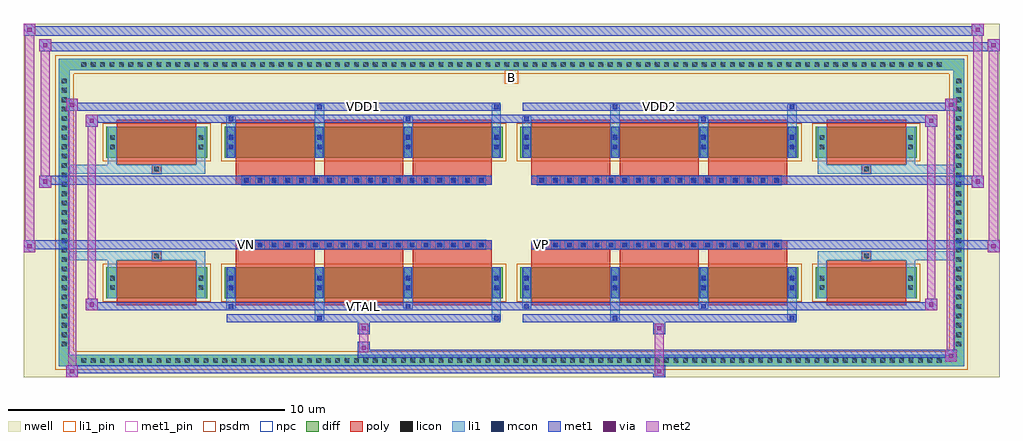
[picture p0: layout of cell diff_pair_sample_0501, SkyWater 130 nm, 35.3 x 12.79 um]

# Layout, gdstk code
import gdstk
lib = gdstk.Library(unit=1e-6, precision=5e-09)
def R(c, l, rs):  # rectangles x0, y0, x1, y1
    for r in rs: c.add(gdstk.rectangle(r[:2], r[2:], *l))
def A(c, l, x, y, w, h, nx, ny, dx, dy):  # array of equal rectangles
    R(c, l, [(x+i*dx, y+j*dy, x+i*dx+w, y+j*dy+h) for i in range(nx) for j in range(ny)])
def P(c, l, *ps):  # polygons
    for p in ps: c.add(gdstk.Polygon(p, *l))
nwell = (64, 20)
diff = (65, 20)
poly = (66, 20)
licon = (66, 44)
li1_pin = (67, 16)
li1 = (67, 20)
mcon = (67, 44)
met1_pin = (68, 16)
met1 = (68, 20)
via = (68, 44)
met2 = (69, 20)
psdm = (94, 20)
npc = (95, 20)

diff_pair_sample_0501 = lib.new_cell('diff_pair_sample_0501')
R(diff_pair_sample_0501, nwell, [(-17.65,-5.96,17.65,6.83), (-14.97,-4.15,-0.01,-0.805), (0.01,-4.15,14.97,-0.805), (-14.97,0.805,-0.01,4.15), (0.01,0.805,14.97,4.15)])
A(diff_pair_sample_0501, diff, -15.675, -5.56, 0.41, 0.41, 92, 2, 0.34, 10.71)
A(diff_pair_sample_0501, diff, -16.38, -4.965, 0.41, 0.41, 1, 29, 0, 0.34)
A(diff_pair_sample_0501, diff, 15.97, -4.965, 0.41, 0.41, 1, 29, 0, 0.34)
R(diff_pair_sample_0501, diff, [(-15.675,-5.56,15.675,-5.15), (-16.38,-4.965,-15.97,4.965), (15.97,-4.965,16.38,4.965), (-14.66,-3.105,-11.01,-1.985), (-10.37,-3.105,-0.32,-1.985), (0.32,-3.105,10.37,-1.985), (11.01,-3.105,14.66,-1.985), (-14.66,1.985,-11.01,3.105), (-10.37,1.985,-0.32,3.105), (0.32,1.985,10.37,3.105), (11.01,1.985,14.66,3.105), (-15.675,5.15,15.675,5.56)])
P(diff_pair_sample_0501, diff, [(16.38,5.56),(-16.38,5.56),(-16.38,-5.15),(-15.97,-5.15),(-15.97,5.15),(15.97,5.15),(15.97,-5.15),(-15.97,-5.15),(-16.38,-5.15),(-16.38,-5.56),(16.38,-5.56)])
A(diff_pair_sample_0501, poly, -9.98, -3.355, 2.87, 1.62, 3, 2, 3.2, 5.09)
A(diff_pair_sample_0501, poly, 0.71, -3.355, 2.87, 1.62, 3, 2, 3.2, 5.09)
A(diff_pair_sample_0501, poly, -9.98, -1.735, 2.87, 0.4, 3, 2, 3.2, 3.07)
A(diff_pair_sample_0501, poly, 0.71, -1.735, 2.87, 0.4, 3, 2, 3.2, 3.07)
A(diff_pair_sample_0501, poly, -9.76, -1.335, 0.33, 0.33, 18, 2, 0.5, 2.34)
A(diff_pair_sample_0501, poly, 0.93, -1.335, 0.33, 0.33, 18, 2, 0.5, 2.34)
R(diff_pair_sample_0501, poly, [(-14.27,-3.355,-11.4,-1.735), (11.4,-3.355,14.27,-1.735), (-13,-1.735,-12.67,-1.405), (-13,-1.735,-12.67,-1.405), (12.67,-1.735,13,-1.405), (12.67,-1.735,13,-1.405), (-9.98,-1.335,-0.71,-1.005), (0.71,-1.335,9.98,-1.005), (-9.98,1.005,-0.71,1.335), (0.71,1.005,9.98,1.335), (-13,1.405,-12.67,1.735), (-13,1.405,-12.67,1.735), (12.67,1.405,13,1.735), (12.67,1.405,13,1.735), (-14.27,1.735,-11.4,3.355), (11.4,1.735,14.27,3.355)])
A(diff_pair_sample_0501, licon, -15.555, -5.44, 0.17, 0.17, 92, 2, 0.34, 10.71)
A(diff_pair_sample_0501, licon, -16.26, -4.845, 0.17, 0.17, 1, 29, 0, 0.34)
A(diff_pair_sample_0501, licon, 16.09, -4.845, 0.17, 0.17, 1, 29, 0, 0.34)
A(diff_pair_sample_0501, licon, -10.23, -2.8, 0.17, 0.17, 4, 2, 3.2, 0.34)
A(diff_pair_sample_0501, licon, 0.46, -2.8, 0.17, 0.17, 4, 2, 3.2, 0.34)
A(diff_pair_sample_0501, licon, -9.68, -1.255, 0.17, 0.17, 18, 2, 0.5, 2.34)
A(diff_pair_sample_0501, licon, 1.01, -1.255, 0.17, 0.17, 18, 2, 0.5, 2.34)
A(diff_pair_sample_0501, licon, -10.23, 2.29, 0.17, 0.17, 4, 2, 3.2, 0.34)
A(diff_pair_sample_0501, licon, 0.46, 2.29, 0.17, 0.17, 4, 2, 3.2, 0.34)
R(diff_pair_sample_0501, licon, [(-14.52,-2.8,-14.35,-2.63), (-11.32,-2.8,-11.15,-2.63), (11.15,-2.8,11.32,-2.63), (14.35,-2.8,14.52,-2.63), (-14.52,-2.46,-14.35,-2.29), (-11.32,-2.46,-11.15,-2.29), (11.15,-2.46,11.32,-2.29), (14.35,-2.46,14.52,-2.29), (-12.92,-1.655,-12.75,-1.485), (12.75,-1.655,12.92,-1.485), (-12.92,1.485,-12.75,1.655), (12.75,1.485,12.92,1.655), (-14.52,2.29,-14.35,2.46), (-11.32,2.29,-11.15,2.46), (11.15,2.29,11.32,2.46), (14.35,2.29,14.52,2.46), (-14.52,2.63,-14.35,2.8), (-11.32,2.63,-11.15,2.8), (11.15,2.63,11.32,2.8), (14.35,2.63,14.52,2.8)])
R(diff_pair_sample_0501, li1_pin, [(-0.25,4.65,0.25,5.15)])
A(diff_pair_sample_0501, li1, -15.635, -5.52, 0.33, 0.33, 92, 2, 0.34, 10.71)
A(diff_pair_sample_0501, li1, -16.34, -4.925, 0.33, 0.33, 1, 29, 0, 0.34)
A(diff_pair_sample_0501, li1, 16.01, -4.925, 0.33, 0.33, 1, 29, 0, 0.34)
A(diff_pair_sample_0501, li1, -10.31, -3.105, 0.33, 1.12, 4, 2, 3.2, 5.09)
A(diff_pair_sample_0501, li1, 0.38, -3.105, 0.33, 1.12, 4, 2, 3.2, 5.09)
A(diff_pair_sample_0501, li1, -10.31, -2.88, 0.33, 0.33, 4, 2, 3.2, 0.34)
A(diff_pair_sample_0501, li1, 0.38, -2.88, 0.33, 0.33, 4, 2, 3.2, 0.34)
A(diff_pair_sample_0501, li1, -10.23, -2.81, 0.17, 0.17, 4, 2, 3.2, 0.36)
A(diff_pair_sample_0501, li1, -10.23, -2.81, 0.17, 0.53, 4, 2, 3.2, 5.09)
A(diff_pair_sample_0501, li1, 0.46, -2.81, 0.17, 0.17, 4, 2, 3.2, 0.36)
A(diff_pair_sample_0501, li1, 0.46, -2.81, 0.17, 0.53, 4, 2, 3.2, 5.09)
A(diff_pair_sample_0501, li1, -9.76, -1.335, 0.33, 0.33, 18, 2, 0.5, 2.34)
A(diff_pair_sample_0501, li1, 0.93, -1.335, 0.33, 0.33, 18, 2, 0.5, 2.34)
A(diff_pair_sample_0501, li1, -10.31, 2.21, 0.33, 0.33, 4, 2, 3.2, 0.34)
A(diff_pair_sample_0501, li1, 0.38, 2.21, 0.33, 0.33, 4, 2, 3.2, 0.34)
A(diff_pair_sample_0501, li1, -10.23, 2.28, 0.17, 0.17, 4, 2, 3.2, 0.36)
A(diff_pair_sample_0501, li1, 0.46, 2.28, 0.17, 0.17, 4, 2, 3.2, 0.36)
R(diff_pair_sample_0501, li1, [(-16.38,-5.56,-15.97,-5.15), (-16.38,-5.56,-15.97,-5.15), (-15.97,-5.56,15.97,-5.15), (15.97,-5.56,16.38,-5.15), (15.97,-5.56,16.38,-5.15), (-16.38,-5.15,-15.97,5.15), (15.97,-5.15,16.38,5.15), (-7.11,-3.91,-6.78,-3.105), (-7.03,-3.91,-6.86,-3.74), (-0.71,-3.91,-0.38,-3.105), (-0.63,-3.91,-0.46,-3.74), (3.58,-3.91,3.91,-3.105), (3.66,-3.91,3.83,-3.74), (9.98,-3.91,10.31,-3.105), (10.06,-3.91,10.23,-3.74), (-10.31,-3.48,-9.98,-3.105), (-10.23,-3.48,-10.06,-3.31), (-3.91,-3.48,-3.58,-3.105), (-3.83,-3.48,-3.66,-3.31), (0.38,-3.48,0.71,-3.105), (0.46,-3.48,0.63,-3.31), (6.78,-3.48,7.11,-3.105), (6.86,-3.48,7.03,-3.31), (-14.6,-3.105,-14.27,-1.985), (-11.4,-3.105,-11.07,-1.985), (11.07,-3.105,11.4,-1.985), (14.27,-3.105,14.6,-1.985), (-14.6,-2.88,-14.27,-2.55), (-11.4,-2.88,-11.07,-2.55), (11.07,-2.88,11.4,-2.55), (14.27,-2.88,14.6,-2.55), (-14.6,-2.54,-14.27,-2.21), (-11.4,-2.54,-11.07,-2.21), (11.07,-2.54,11.4,-2.21), (14.27,-2.54,14.6,-2.21), (-14.6,-1.985,-14.27,-1.405), (-11.4,-1.985,-11.07,-1.405), (11.07,-1.985,11.4,-1.405), (14.27,-1.985,14.6,-1.405), (-16.38,-1.735,-13,-1.405), (-14.6,-1.735,-13,-1.405), (-13,-1.735,-12.67,-1.405), (-12.67,-1.735,-11.07,-1.405), (11.07,-1.735,12.67,-1.405), (12.67,-1.735,13,-1.405), (12.67,-1.735,16.38,-1.405), (13,-1.735,14.6,-1.405), (-16.38,1.405,-13,1.735), (-14.6,1.405,-13,1.735), (-14.6,1.405,-14.27,1.985), (-13,1.405,-12.67,1.735), (-12.67,1.405,-11.07,1.735), (-11.4,1.405,-11.07,1.985), (11.07,1.405,12.67,1.735), (11.07,1.405,11.4,1.985), (12.67,1.405,13,1.735), (12.67,1.405,16.38,1.735), (13,1.405,14.6,1.735), (14.27,1.405,14.6,1.985), (-14.6,1.985,-14.27,3.105), (-11.4,1.985,-11.07,3.105), (11.07,1.985,11.4,3.105), (14.27,1.985,14.6,3.105), (-14.6,2.21,-14.27,2.54), (-11.4,2.21,-11.07,2.54), (11.07,2.21,11.4,2.54), (14.27,2.21,14.6,2.54), (-14.6,2.55,-14.27,2.88), (-11.4,2.55,-11.07,2.88), (11.07,2.55,11.4,2.88), (14.27,2.55,14.6,2.88), (-10.31,3.105,-9.98,3.48), (-7.11,3.105,-6.78,3.91), (-3.91,3.105,-3.58,3.48), (-0.71,3.105,-0.38,3.91), (0.38,3.105,0.71,3.48), (3.58,3.105,3.91,3.91), (6.78,3.105,7.11,3.48), (9.98,3.105,10.31,3.91), (-10.23,3.31,-10.06,3.48), (-3.83,3.31,-3.66,3.48), (0.46,3.31,0.63,3.48), (6.86,3.31,7.03,3.48), (-7.03,3.74,-6.86,3.91), (-0.63,3.74,-0.46,3.91), (3.66,3.74,3.83,3.91), (10.06,3.74,10.23,3.91), (-16.38,5.15,-15.97,5.56), (-16.38,5.15,-15.97,5.56), (-15.97,5.15,15.97,5.56), (15.97,5.15,16.38,5.56), (15.97,5.15,16.38,5.56)])
A(diff_pair_sample_0501, mcon, -10.23, -2.81, 0.17, 0.17, 4, 2, 3.2, 0.36)
A(diff_pair_sample_0501, mcon, 0.46, -2.81, 0.17, 0.17, 4, 2, 3.2, 0.36)
A(diff_pair_sample_0501, mcon, -9.68, -1.255, 0.17, 0.17, 18, 2, 0.5, 2.34)
A(diff_pair_sample_0501, mcon, 1.01, -1.255, 0.17, 0.17, 18, 2, 0.5, 2.34)
A(diff_pair_sample_0501, mcon, -10.23, 2.28, 0.17, 0.17, 4, 2, 3.2, 0.36)
A(diff_pair_sample_0501, mcon, 0.46, 2.28, 0.17, 0.17, 4, 2, 3.2, 0.36)
R(diff_pair_sample_0501, mcon, [(-7.03,-3.91,-6.86,-3.74), (-0.63,-3.91,-0.46,-3.74), (3.66,-3.91,3.83,-3.74), (10.06,-3.91,10.23,-3.74), (-10.23,-3.48,-10.06,-3.31), (-3.83,-3.48,-3.66,-3.31), (0.46,-3.48,0.63,-3.31), (6.86,-3.48,7.03,-3.31), (-10.23,3.31,-10.06,3.48), (-3.83,3.31,-3.66,3.48), (0.46,3.31,0.63,3.48), (6.86,3.31,7.03,3.48), (-7.03,3.74,-6.86,3.91), (-0.63,3.74,-0.46,3.91), (3.66,3.74,3.83,3.91), (10.06,3.74,10.23,3.91)])
R(diff_pair_sample_0501, met1_pin, [(-5.48,-3.52,-5.21,-3.25), (-9.73,-1.295,-9.46,-1.025), (0.96,-1.295,1.23,-1.025), (-5.48,3.7,-5.21,3.97), (5.21,3.7,5.48,3.97)])
A(diff_pair_sample_0501, met1, -10.29, -3.105, 0.29, 1.12, 4, 2, 3.2, 5.09)
A(diff_pair_sample_0501, met1, 0.4, -3.105, 0.29, 1.12, 4, 2, 3.2, 5.09)
A(diff_pair_sample_0501, met1, -10.29, -2.87, 0.29, 0.29, 4, 2, 3.2, 0.36)
A(diff_pair_sample_0501, met1, 0.4, -2.87, 0.29, 0.29, 4, 2, 3.2, 0.36)
A(diff_pair_sample_0501, met1, -9.74, -1.315, 0.29, 0.29, 18, 2, 0.5, 2.34)
A(diff_pair_sample_0501, met1, 0.95, -1.315, 0.29, 0.29, 18, 2, 0.5, 2.34)
A(diff_pair_sample_0501, met1, -10.29, 2.22, 0.29, 0.29, 4, 2, 3.2, 0.36)
A(diff_pair_sample_0501, met1, 0.4, 2.22, 0.29, 0.29, 4, 2, 3.2, 0.36)
R(diff_pair_sample_0501, met1, [(-16.11,-5.96,-15.68,-5.53), (5.13,-5.96,5.56,-5.53), (-16.11,-5.82,5.56,-5.53), (15.68,-5.39,16.11,-4.96), (-5.56,-5.25,16.11,-4.96), (-5.56,-5.11,-5.13,-4.68), (-5.56,-4.4,-5.13,-3.97), (5.13,-4.4,5.56,-3.97), (-10.29,-3.97,-0.4,-3.68), (-7.09,-3.97,-6.8,-3.68), (-0.69,-3.97,-0.4,-3.68), (0.4,-3.97,10.29,-3.68), (3.6,-3.97,3.89,-3.68), (10,-3.97,10.29,-3.68), (-15.4,-3.54,-14.97,-3.11), (-15.4,-3.54,-10.29,-3.25), (-10.29,-3.54,-10,-3.25), (-10.29,-3.54,-0.4,-3.25), (-3.89,-3.54,-3.6,-3.25), (-0.4,-3.54,0.4,-3.25), (0.4,-3.54,0.69,-3.25), (0.4,-3.54,10.29,-3.25), (6.8,-3.54,7.09,-3.25), (10.29,-3.54,15.4,-3.25), (14.97,-3.54,15.4,-3.11), (-17.65,-1.435,-17.22,-1.005), (17.22,-1.435,17.65,-1.005), (-17.65,-1.335,-0.71,-1.005), (-9.98,-1.335,-0.71,-1.005), (0.71,-1.335,9.98,-1.005), (0.71,-1.335,17.65,-1.005), (-17.08,0.905,-16.65,1.335), (16.65,0.905,17.08,1.335), (-17.08,1.005,-9.98,1.335), (-9.98,1.005,-0.71,1.335), (0.71,1.005,9.98,1.335), (9.98,1.005,17.08,1.335), (-15.4,3.11,-14.97,3.54), (14.97,3.11,15.4,3.54), (-15.4,3.25,-10.29,3.54), (-10.29,3.25,-10,3.54), (-10.29,3.25,-0.4,3.54), (-3.89,3.25,-3.6,3.54), (-0.4,3.25,0.4,3.54), (0.4,3.25,0.69,3.54), (0.4,3.25,10.29,3.54), (6.8,3.25,7.09,3.54), (10.29,3.25,15.4,3.54), (-16.11,3.68,-15.68,4.11), (-16.11,3.68,-10.29,3.97), (-10.29,3.68,-0.4,3.97), (-7.09,3.68,-6.8,3.97), (-0.69,3.68,-0.4,3.97), (0.4,3.68,10.29,3.97), (3.6,3.68,3.89,3.97), (10,3.68,10.29,3.97), (10.29,3.68,16.11,3.97), (15.68,3.68,16.11,4.11), (-17.08,5.83,-16.65,6.26), (-17.08,5.83,-14.97,6.16), (-14.97,5.83,14.97,6.16), (14.97,5.83,17.65,6.16), (17.22,5.83,17.65,6.26), (-17.65,6.4,-17.22,6.83), (-17.65,6.4,-14.97,6.73), (-14.97,6.4,14.97,6.73), (14.97,6.4,17.08,6.73), (16.65,6.4,17.08,6.83)])
R(diff_pair_sample_0501, via, [(-15.97,-5.82,-15.82,-5.67), (5.27,-5.82,5.42,-5.67), (15.82,-5.25,15.97,-5.1), (-5.42,-4.97,-5.27,-4.82), (-5.42,-4.26,-5.27,-4.11), (5.27,-4.26,5.42,-4.11), (-15.26,-3.4,-15.11,-3.25), (15.11,-3.4,15.26,-3.25), (-17.51,-1.295,-17.36,-1.145), (17.36,-1.295,17.51,-1.145), (-16.94,1.045,-16.79,1.195), (16.79,1.045,16.94,1.195), (-15.26,3.25,-15.11,3.4), (15.11,3.25,15.26,3.4), (-15.97,3.82,-15.82,3.97), (15.82,3.82,15.97,3.97), (-16.94,5.97,-16.79,6.12), (17.36,5.97,17.51,6.12), (-17.51,6.54,-17.36,6.69), (16.79,6.54,16.94,6.69)])
R(diff_pair_sample_0501, met2, [(-16.11,-5.96,-15.68,-5.53), (-16.04,-5.96,-15.75,4.11), (-15.75,-5.96,-15.68,-5.53), (-16.06,-5.91,-15.73,-5.58), (5.18,-5.91,5.51,-5.58), (5.18,-5.58,5.51,-4.35), (15.68,-5.39,16.11,-4.96), (15.75,-5.39,16.04,4.11), (16.04,-5.39,16.11,-4.96), (15.73,-5.34,16.06,-5.01), (-5.51,-5.06,-5.18,-4.73), (-5.51,-4.73,-5.18,-4.35), (-5.51,-4.35,-5.18,-4.02), (5.18,-4.35,5.51,-4.02), (-15.4,-3.54,-14.97,-3.11), (-15.33,-3.54,-15.04,3.54), (-15.04,-3.54,-14.97,-3.11), (14.97,-3.54,15.4,-3.11), (15.04,-3.54,15.33,3.54), (15.33,-3.54,15.4,-3.11), (-15.35,-3.49,-15.02,-3.16), (15.02,-3.49,15.35,-3.16), (-17.65,-1.435,-17.22,-1.005), (-17.6,-1.435,-17.27,6.83), (-17.27,-1.435,-17.22,-1.005), (17.22,-1.435,17.65,-1.005), (17.27,-1.435,17.6,6.26), (17.6,-1.435,17.65,-1.005), (-17.6,-1.385,-17.27,-1.055), (17.27,-1.385,17.6,-1.055), (-17.08,0.905,-16.65,1.335), (-17.03,0.905,-16.7,6.26), (-16.7,0.905,-16.65,1.335), (16.65,0.905,17.08,1.335), (16.7,0.905,17.03,6.83), (17.03,0.905,17.08,1.335), (-17.03,0.955,-16.7,1.285), (16.7,0.955,17.03,1.285), (-15.4,3.11,-14.97,3.54), (-15.04,3.11,-14.97,3.54), (14.97,3.11,15.4,3.54), (15.33,3.11,15.4,3.54), (-15.35,3.16,-15.02,3.49), (15.02,3.16,15.35,3.49), (-16.11,3.68,-15.68,4.11), (-15.75,3.68,-15.68,4.11), (15.68,3.68,16.11,4.11), (16.04,3.68,16.11,4.11), (-16.06,3.73,-15.73,4.06), (15.73,3.73,16.06,4.06), (-17.08,5.83,-16.65,6.26), (-16.7,5.83,-16.65,6.26), (17.22,5.83,17.65,6.26), (17.6,5.83,17.65,6.26), (-17.03,5.88,-16.7,6.21), (17.27,5.88,17.6,6.21), (-17.65,6.4,-17.22,6.83), (-17.27,6.4,-17.22,6.83), (16.65,6.4,17.08,6.83), (17.03,6.4,17.08,6.83), (-17.6,6.45,-17.27,6.78), (16.7,6.45,17.03,6.78)])
R(diff_pair_sample_0501, psdm, [(-14.79,-3.235,-10.88,-1.855), (-10.5,-3.235,-0.19,-1.855), (0.19,-3.235,10.5,-1.855), (10.88,-3.235,14.79,-1.855), (-14.79,1.855,-10.88,3.235), (-10.5,1.855,-0.19,3.235), (0.19,1.855,10.5,3.235), (10.88,1.855,14.79,3.235)])
P(diff_pair_sample_0501, psdm, [(16.51,5.69),(-16.51,5.69),(-16.51,-5.02),(-15.84,-5.02),(-15.84,5.02),(15.84,5.02),(15.84,-5.02),(-15.84,-5.02),(-16.51,-5.02),(-16.51,-5.69),(16.51,-5.69)])
A(diff_pair_sample_0501, npc, -9.78, -1.355, 0.37, 0.37, 18, 2, 0.5, 2.34)
A(diff_pair_sample_0501, npc, 0.91, -1.355, 0.37, 0.37, 18, 2, 0.5, 2.34)
R(diff_pair_sample_0501, npc, [(-13.02,-1.755,-12.65,-1.385), (12.65,-1.755,13.02,-1.385), (-9.78,-1.355,-8.91,-0.985), (-9.78,-1.355,-8.91,-0.985), (-9.28,-1.355,-8.41,-0.985), (-9.28,-1.355,-8.41,-0.985), (-8.78,-1.355,-7.91,-0.985), (-8.78,-1.355,-7.91,-0.985), (-8.28,-1.355,-7.41,-0.985), (-8.28,-1.355,-7.41,-0.985), (-7.78,-1.355,-6.91,-0.985), (-7.78,-1.355,-6.91,-0.985), (-7.28,-1.355,-6.41,-0.985), (-7.28,-1.355,-6.41,-0.985), (-6.78,-1.355,-5.91,-0.985), (-6.78,-1.355,-5.91,-0.985), (-6.28,-1.355,-5.41,-0.985), (-6.28,-1.355,-5.41,-0.985), (-5.78,-1.355,-4.91,-0.985), (-5.78,-1.355,-4.91,-0.985), (-5.28,-1.355,-4.41,-0.985), (-5.28,-1.355,-4.41,-0.985), (-4.78,-1.355,-3.91,-0.985), (-4.78,-1.355,-3.91,-0.985), (-4.28,-1.355,-3.41,-0.985), (-4.28,-1.355,-3.41,-0.985), (-3.78,-1.355,-2.91,-0.985), (-3.78,-1.355,-2.91,-0.985), (-3.28,-1.355,-2.41,-0.985), (-3.28,-1.355,-2.41,-0.985), (-2.78,-1.355,-1.91,-0.985), (-2.78,-1.355,-1.91,-0.985), (-2.28,-1.355,-1.41,-0.985), (-2.28,-1.355,-1.41,-0.985), (-1.78,-1.355,-0.91,-0.985), (-1.78,-1.355,-0.91,-0.985), (0.91,-1.355,1.78,-0.985), (0.91,-1.355,1.78,-0.985), (1.41,-1.355,2.28,-0.985), (1.41,-1.355,2.28,-0.985), (1.91,-1.355,2.78,-0.985), (1.91,-1.355,2.78,-0.985), (2.41,-1.355,3.28,-0.985), (2.41,-1.355,3.28,-0.985), (2.91,-1.355,3.78,-0.985), (2.91,-1.355,3.78,-0.985), (3.41,-1.355,4.28,-0.985), (3.41,-1.355,4.28,-0.985), (3.91,-1.355,4.78,-0.985), (3.91,-1.355,4.78,-0.985), (4.41,-1.355,5.28,-0.985), (4.41,-1.355,5.28,-0.985), (4.91,-1.355,5.78,-0.985), (4.91,-1.355,5.78,-0.985), (5.41,-1.355,6.28,-0.985), (5.41,-1.355,6.28,-0.985), (5.91,-1.355,6.78,-0.985), (5.91,-1.355,6.78,-0.985), (6.41,-1.355,7.28,-0.985), (6.41,-1.355,7.28,-0.985), (6.91,-1.355,7.78,-0.985), (6.91,-1.355,7.78,-0.985), (7.41,-1.355,8.28,-0.985), (7.41,-1.355,8.28,-0.985), (7.91,-1.355,8.78,-0.985), (7.91,-1.355,8.78,-0.985), (8.41,-1.355,9.28,-0.985), (8.41,-1.355,9.28,-0.985), (8.91,-1.355,9.78,-0.985), (8.91,-1.355,9.78,-0.985), (-9.78,0.985,-8.91,1.355), (-9.78,0.985,-8.91,1.355), (-9.28,0.985,-8.41,1.355), (-9.28,0.985,-8.41,1.355), (-8.78,0.985,-7.91,1.355), (-8.78,0.985,-7.91,1.355), (-8.28,0.985,-7.41,1.355), (-8.28,0.985,-7.41,1.355), (-7.78,0.985,-6.91,1.355), (-7.78,0.985,-6.91,1.355), (-7.28,0.985,-6.41,1.355), (-7.28,0.985,-6.41,1.355), (-6.78,0.985,-5.91,1.355), (-6.78,0.985,-5.91,1.355), (-6.28,0.985,-5.41,1.355), (-6.28,0.985,-5.41,1.355), (-5.78,0.985,-4.91,1.355), (-5.78,0.985,-4.91,1.355), (-5.28,0.985,-4.41,1.355), (-5.28,0.985,-4.41,1.355), (-4.78,0.985,-3.91,1.355), (-4.78,0.985,-3.91,1.355), (-4.28,0.985,-3.41,1.355), (-4.28,0.985,-3.41,1.355), (-3.78,0.985,-2.91,1.355), (-3.78,0.985,-2.91,1.355), (-3.28,0.985,-2.41,1.355), (-3.28,0.985,-2.41,1.355), (-2.78,0.985,-1.91,1.355), (-2.78,0.985,-1.91,1.355), (-2.28,0.985,-1.41,1.355), (-2.28,0.985,-1.41,1.355), (-1.78,0.985,-0.91,1.355), (-1.78,0.985,-0.91,1.355), (0.91,0.985,1.78,1.355), (0.91,0.985,1.78,1.355), (1.41,0.985,2.28,1.355), (1.41,0.985,2.28,1.355), (1.91,0.985,2.78,1.355), (1.91,0.985,2.78,1.355), (2.41,0.985,3.28,1.355), (2.41,0.985,3.28,1.355), (2.91,0.985,3.78,1.355), (2.91,0.985,3.78,1.355), (3.41,0.985,4.28,1.355), (3.41,0.985,4.28,1.355), (3.91,0.985,4.78,1.355), (3.91,0.985,4.78,1.355), (4.41,0.985,5.28,1.355), (4.41,0.985,5.28,1.355), (4.91,0.985,5.78,1.355), (4.91,0.985,5.78,1.355), (5.41,0.985,6.28,1.355), (5.41,0.985,6.28,1.355), (5.91,0.985,6.78,1.355), (5.91,0.985,6.78,1.355), (6.41,0.985,7.28,1.355), (6.41,0.985,7.28,1.355), (6.91,0.985,7.78,1.355), (6.91,0.985,7.78,1.355), (7.41,0.985,8.28,1.355), (7.41,0.985,8.28,1.355), (7.91,0.985,8.78,1.355), (7.91,0.985,8.78,1.355), (8.41,0.985,9.28,1.355), (8.41,0.985,9.28,1.355), (8.91,0.985,9.78,1.355), (8.91,0.985,9.78,1.355), (-13.02,1.385,-12.65,1.755), (12.65,1.385,13.02,1.755)])
diff_pair_sample_0501.add(gdstk.Label('VTAIL', (-5.345,-3.385), layer=68, texttype=5))
diff_pair_sample_0501.add(gdstk.Label('VN', (-9.595,-1.16), layer=68, texttype=5))
diff_pair_sample_0501.add(gdstk.Label('VP', (1.095,-1.16), layer=68, texttype=5))
diff_pair_sample_0501.add(gdstk.Label('B', (0,4.9), layer=67, texttype=5))
diff_pair_sample_0501.add(gdstk.Label('VDD2', (5.345,3.835), layer=68, texttype=5))
diff_pair_sample_0501.add(gdstk.Label('VDD1', (-5.345,3.835), layer=68, texttype=5))

lib.write_gds('diff_pair_sample_0501.gds')
